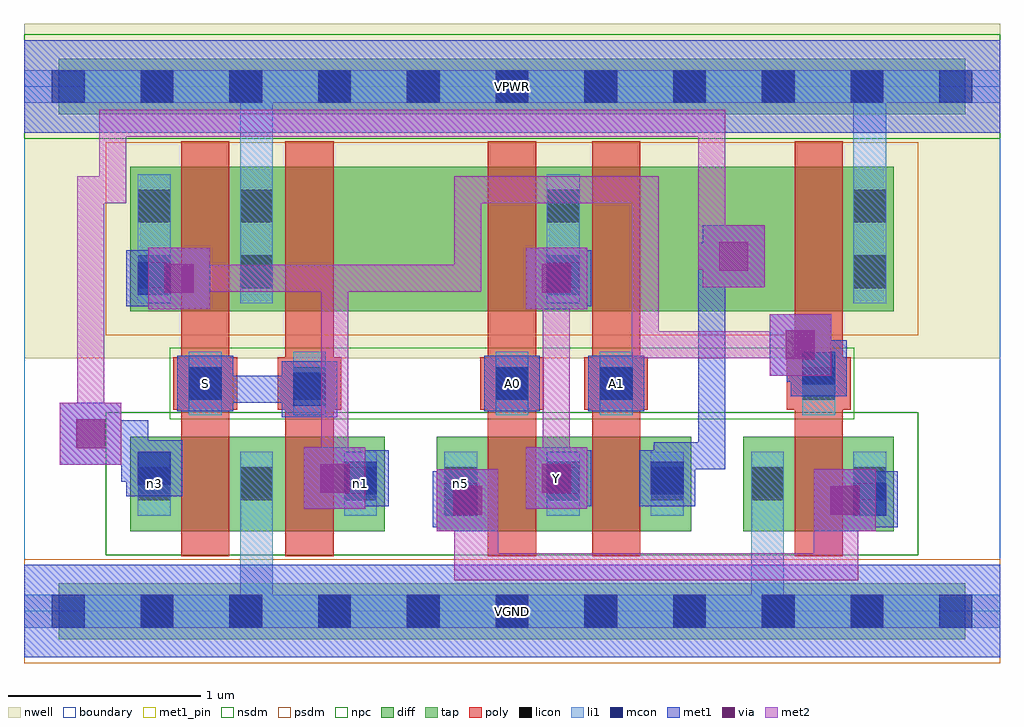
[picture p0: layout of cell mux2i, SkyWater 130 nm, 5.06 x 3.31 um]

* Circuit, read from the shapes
.subckt mux2i A0 A1 S VGND VPWR Y n1 n3 n5
XM1 VGND S n3 VGND sky130_fd_pr__nfet_01v8 w=0.49 l=0.25
XM2 n1 S VGND VGND sky130_fd_pr__nfet_01v8 w=0.49 l=0.25
XM3 Y A0 n5 VGND sky130_fd_pr__nfet_01v8 w=0.49 l=0.25
XM4 n3 A1 Y VGND sky130_fd_pr__nfet_01v8 w=0.49 l=0.25
XM5 n5 n1 VGND VGND sky130_fd_pr__nfet_01v8 w=0.49 l=0.25
XM6 VPWR S n1 VPWR sky130_fd_pr__pfet_01v8 w=0.75 l=0.25
XM7 n2 S VPWR VPWR sky130_fd_pr__pfet_01v8 w=0.75 l=0.25
XM8 Y A0 n2 VPWR sky130_fd_pr__pfet_01v8 w=0.75 l=0.25
XM9 n4 A1 Y VPWR sky130_fd_pr__pfet_01v8 w=0.75 l=0.25
XM10 VPWR n1 n4 VPWR sky130_fd_pr__pfet_01v8 w=0.75 l=0.25
.ends

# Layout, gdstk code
import gdstk
lib = gdstk.Library(unit=1e-6, precision=1e-09)
def R(c, l, rs):  # rectangles x0, y0, x1, y1
    for r in rs: c.add(gdstk.rectangle(r[:2], r[2:], *l))
def A(c, l, x, y, w, h, nx, ny, dx, dy):  # array of equal rectangles
    R(c, l, [(x+i*dx, y+j*dy, x+i*dx+w, y+j*dy+h) for i in range(nx) for j in range(ny)])
nwell = (64, 20)
diff = (65, 20)
tap = (65, 44)
poly = (66, 20)
licon = (66, 44)
li1 = (67, 20)
mcon = (67, 44)
met1_pin = (68, 16)
met1 = (68, 20)
via = (68, 44)
met2 = (69, 20)
nsdm = (93, 44)
psdm = (94, 20)
npc = (95, 20)
boundary = (235, 4)

mux2i = lib.new_cell('mux2i')
R(mux2i, nwell, [(0,1.31,5.06,3.045)])
R(mux2i, diff, [(0.55,0.415,1.87,0.905), (2.14,0.415,3.46,0.905), (3.73,0.415,4.51,0.905), (0.55,1.555,4.51,2.305)])
R(mux2i, tap, [(0.18,-0.145,4.88,0.145), (0.18,2.575,4.88,2.865)])
R(mux2i, poly, [(0.815,0.285,1.065,2.435), (1.355,0.285,1.605,2.435), (2.405,0.285,2.655,2.435), (2.945,0.285,3.195,2.435), (3.995,0.285,4.245,2.435), (0.775,1.045,1.105,1.315), (1.315,1.045,1.645,1.315), (2.365,1.045,2.695,1.315), (2.905,1.045,3.235,1.315), (3.955,1.045,4.285,1.315)])
A(mux2i, licon, 0.605, -0.085, 0.17, 0.17, 9, 2, 0.46, 2.72)
A(mux2i, licon, 1.12, 1.675, 0.17, 0.17, 3, 2, 1.59, 0.34)
R(mux2i, licon, [(0.59,0.575,0.76,0.745), (1.12,0.575,1.29,0.745), (1.66,0.575,1.83,0.745), (2.18,0.575,2.35,0.745), (2.71,0.575,2.88,0.745), (3.25,0.575,3.42,0.745), (3.77,0.575,3.94,0.745), (4.3,0.575,4.47,0.745), (0.855,1.095,1.025,1.265), (1.395,1.095,1.565,1.265), (2.445,1.095,2.615,1.265), (2.985,1.095,3.155,1.265), (4.035,1.095,4.205,1.265), (0.59,1.675,0.76,1.845), (0.59,2.015,0.76,2.185)])
A(mux2i, li1, 1.12, 1.595, 0.17, 0.67, 3, 1, 1.59, 0)
R(mux2i, li1, [(0,-0.085,5.06,0.085), (1.12,-0.085,1.29,0.825), (3.77,-0.085,3.94,0.825), (0.59,0.495,0.76,0.825), (1.12,0.495,1.29,0.825), (1.66,0.495,1.83,0.825), (2.18,0.495,2.35,0.825), (2.71,0.495,2.88,0.825), (3.25,0.495,3.42,0.825), (3.77,0.495,3.94,0.825), (4.3,0.495,4.47,0.825), (0.855,1.015,1.025,1.345), (1.395,1.015,1.565,1.345), (2.445,1.015,2.615,1.345), (2.985,1.015,3.155,1.345), (4.035,1.015,4.205,1.345), (0.59,1.595,0.76,2.265), (1.12,1.595,1.29,2.805), (4.3,1.595,4.47,2.805), (0,2.635,5.06,2.805)])
A(mux2i, mcon, 0.145, -0.085, 0.17, 0.17, 11, 2, 0.46, 2.72)
R(mux2i, mcon, [(2.18,0.495,2.35,0.665), (4.3,0.495,4.47,0.665), (1.66,0.605,1.83,0.775), (2.71,0.605,2.88,0.775), (3.25,0.605,3.42,0.775), (0.59,0.655,0.76,0.825), (1.395,1.065,1.565,1.235), (0.855,1.095,1.025,1.265), (2.445,1.095,2.615,1.265), (2.985,1.095,3.155,1.265), (4.035,1.175,4.205,1.345), (0.59,1.64,0.76,1.81), (2.71,1.64,2.88,1.81)])
R(mux2i, met1_pin, [(0,-0.24,5.06,0.24), (2.6,0.53,2.92,0.85), (0.795,1.035,1.085,1.325), (2.385,1.035,2.675,1.325), (2.925,1.035,3.215,1.325), (0,2.48,5.06,2.96)])
R(mux2i, met1, [(0,-0.24,5.06,0.24), (2.14,0.415,2.46,0.735), (4.095,0.415,4.415,0.735), (2.12,0.435,2.41,0.725), (4.24,0.435,4.53,0.725), (2.23,0.505,2.37,0.65), (4.185,0.505,4.325,0.65), (2.195,0.51,2.37,0.65), (4.185,0.51,4.455,0.65), (1.45,0.53,1.77,0.85), (2.6,0.53,2.92,0.85), (1.6,0.545,1.89,0.835), (2.65,0.545,2.94,0.835), (3.19,0.545,3.48,0.835), (0.53,0.595,0.82,0.885), (1.54,0.62,1.815,0.76), (2.69,0.62,2.865,0.76), (3.265,0.62,3.405,0.875), (0.505,0.67,0.745,0.81), (0.505,0.67,0.645,0.99), (3.265,0.735,3.635,0.875), (3.495,0.735,3.635,1.91), (0.185,0.76,0.505,1.08), (0.275,0.85,0.645,0.99), (1.335,1.005,1.625,1.295), (0.795,1.035,1.085,1.325), (2.385,1.035,2.675,1.325), (2.925,1.035,3.215,1.325), (0.85,1.08,0.99,1.22), (0.85,1.08,1.45,1.22), (1.31,1.08,1.55,1.22), (3.975,1.115,4.265,1.405), (3.955,1.19,4.19,1.33), (3.955,1.19,4.095,1.45), (3.865,1.22,4.185,1.54), (0.645,1.565,0.965,1.885), (2.6,1.565,2.92,1.885), (0.53,1.58,0.82,1.87), (2.65,1.58,2.94,1.87), (0.605,1.655,0.875,1.795), (2.69,1.655,2.865,1.795), (3.52,1.68,3.84,2), (3.495,1.77,3.75,1.91), (0,2.48,5.06,2.96)])
R(mux2i, via, [(2.225,0.5,2.375,0.65), (4.18,0.5,4.33,0.65), (1.535,0.615,1.685,0.765), (2.685,0.615,2.835,0.765), (0.27,0.845,0.42,0.995), (3.95,1.305,4.1,1.455), (0.73,1.65,0.88,1.8), (2.685,1.65,2.835,1.8), (3.605,1.765,3.755,1.915)])
R(mux2i, met2, [(2.23,0.16,2.37,0.645), (2.23,0.16,4.325,0.3), (4.185,0.16,4.325,0.645), (2.23,0.3,2.46,0.415), (4.095,0.3,4.325,0.415), (2.14,0.415,2.46,0.735), (4.095,0.415,4.415,0.735), (1.45,0.53,1.77,0.85), (2.6,0.53,2.92,0.85), (1.54,0.62,1.68,1.795), (2.69,0.62,2.83,1.795), (0.185,0.76,0.505,1.08), (0.275,0.85,0.415,2.255), (3.865,1.22,4.185,1.54), (3.15,1.31,4.095,1.45), (3.15,1.31,3.29,2.255), (0.645,1.565,0.965,1.885), (2.6,1.565,2.92,1.885), (0.735,1.655,1.68,1.795), (1.54,1.655,2.37,1.795), (2.23,1.655,2.37,2.255), (3.52,1.68,3.84,2), (3.495,1.77,3.75,1.91), (3.495,1.77,3.635,2.6), (0.275,2.115,0.53,2.255), (0.39,2.115,0.53,2.6), (2.23,2.115,3.29,2.255), (0.39,2.46,3.635,2.6)])
R(mux2i, nsdm, [(0.425,0.29,4.635,1.03), (0,2.45,5.06,2.99)])
R(mux2i, psdm, [(0,-0.27,5.06,0.27), (0.425,1.43,4.635,2.43)])
R(mux2i, npc, [(0.755,0.995,4.305,1.365)])
R(mux2i, boundary, [(0,0,5.06,2.72)])
mux2i.add(gdstk.Label('n3', (0.675,0.66), layer=67, texttype=5))
mux2i.add(gdstk.Label('n1', (1.745,0.66), layer=67, texttype=5))
mux2i.add(gdstk.Label('n5', (2.265,0.66), layer=67, texttype=5))
mux2i.add(gdstk.Label('A0', (2.53,1.18), layer=68, texttype=5))
mux2i.add(gdstk.Label('A1', (3.07,1.18), layer=68, texttype=5))
mux2i.add(gdstk.Label('S', (0.94,1.18), layer=68, texttype=5))
mux2i.add(gdstk.Label('Y', (2.76,0.69), layer=68, texttype=5))
mux2i.add(gdstk.Label('VPWR', (2.53,2.72), layer=68, texttype=5))
mux2i.add(gdstk.Label('VGND', (2.53,0), layer=68, texttype=5))
mux2i.add(gdstk.Label('A0', (2.53,1.18), layer=68, texttype=16))
mux2i.add(gdstk.Label('A1', (3.07,1.18), layer=68, texttype=16))
mux2i.add(gdstk.Label('S', (0.94,1.18), layer=68, texttype=16))
mux2i.add(gdstk.Label('Y', (2.76,0.69), layer=68, texttype=16))
mux2i.add(gdstk.Label('VPWR', (2.53,2.72), layer=68, texttype=16))
mux2i.add(gdstk.Label('VGND', (2.53,0), layer=68, texttype=16))

lib.write_gds('mux2i.gds')
